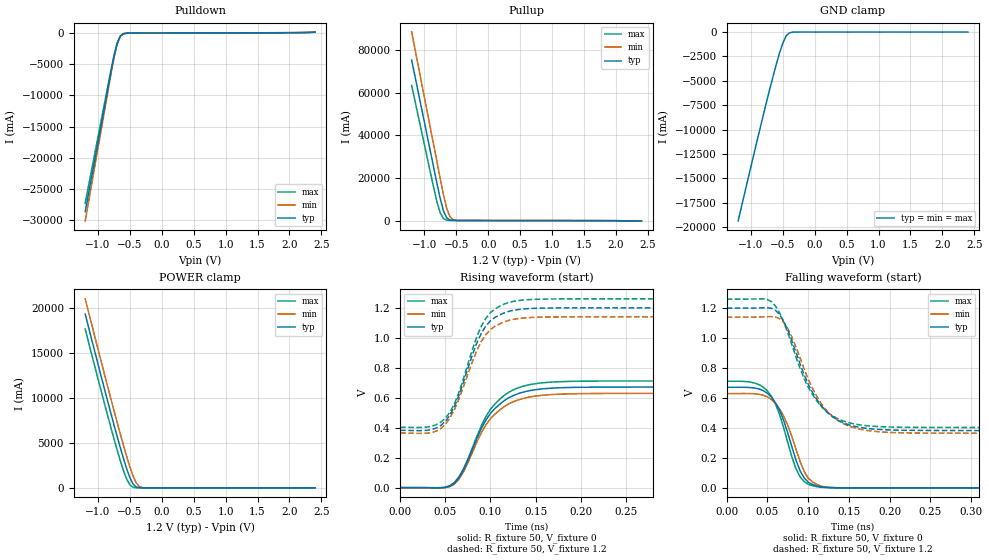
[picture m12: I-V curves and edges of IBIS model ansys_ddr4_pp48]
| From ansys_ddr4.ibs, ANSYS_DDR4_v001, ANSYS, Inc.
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|Model ansys_ddr4_pp48
[Model] ansys_ddr4_pp48
Model_type Output
C_comp 1e-13 9.5e-14 1.05e-13
[Temperature Range] 25.0 0.0 85.0
[Voltage Range] 1.2 1.14 1.26
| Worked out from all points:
|   slope of the pulldown table from 0 to 0.18 V, typ, clamps not added: 16.7 ohm
|   slope of the pullup table from 0 to 0.18 V, typ, clamps not added: 31.1 ohm
|   GND clamp passes 1 mA (typ) near -0.27 V on its own axis
|   POWER clamp passes 1 mA (typ) near -0.27 V on its own axis
|   rising waveform, R_fixture 50, V_fixture 0: 20-80 % time 35.3ps typ, 35.6ps min, 35.4ps max; typ from 0 V to 0.671 V
|   rising waveform, R_fixture 50, V_fixture 1.2: 20-80 % time 30.1ps typ, 30.9ps min, 29.9ps max; typ from 0.383 V to 1.2 V
|   falling waveform, R_fixture 50, V_fixture 0: 20-80 % time 25.7ps typ, 26.5ps min, 25.1ps max; typ from 0.671 V to 0 V
|   falling waveform, R_fixture 50, V_fixture 1.2: 20-80 % time 40.2ps typ, 40.4ps min, 40.3ps max; typ from 1.2 V to 0.383 V
[GND Clamp]
-1.2V     -19.39A    -19.39A    -19.39A
-850mV    -9.722A    -9.722A    -9.722A
-700mV    -5.751A    -5.751A    -5.751A
-600mV    -3.265A    -3.265A    -3.265A
-550mV    -2.13A     -2.13A     -2.13A
-500mV    -1.141A    -1.141A    -1.141A
-450mV    -425mA     -425mA     -425mA
-400mV    -94.47mA   -94.47mA   -94.47mA
-250mV    -312.2uA   -312.2uA   -312.2uA
2.4V      18.56nA    18.56nA    18.56nA
[POWER Clamp]
-1.2V     19.39A     21.07A     17.71A
-950mV    12.45A     14.1A      10.81A
-800mV    8.379A     9.992A     6.79A
-700mV    5.751A     7.316A     4.234A
-600mV    3.265A     4.733A     1.917A
-550mV    2.13A      3.503A     971.1mA
-500mV    1.141A     2.348A     327.9mA
-450mV    425mA      1.322A     66.45mA
-400mV    94.47mA    538.7mA    10.23mA
-350mV    15.01mA    132.5mA    1.479mA
-200mV    44.58uA    460.6uA    4.298uA
2.4V      -18.56nA   -18.56nA   -18.56nA
[Pulldown]
-1.2V     -28.6A     -30.1A     -27.24A
-800mV    -6.452A    -6.79A     -6.146A
-750mV    -3.823A    -4.022A    -3.642A
-700mV    -1.718A    -1.807A    -1.638A
-650mV    -500.3mA   -525.4mA   -477.5mA
-600mV    -117.5mA   -122.5mA   -112.8mA
-500mV    -33.36mA   -34.12mA   -32.6mA
2.4V      131.3mA    146.7mA    118mA
[Pullup]
-1.2V     75.37A     88.58A     63.46A
-850mV    24.25A     34.76A     14.76A
-800mV    16.95A     27.07A     8.346A
-750mV    10.01A     19.38A     3.435A
-700mV    4.46A      11.91A     871.9mA
-650mV    1.249A     5.697A     167.4mA
-600mV    242.4mA    1.766A     45.65mA
-550mV    57.86mA    355.4mA    25.58mA
-450mV    21.64mA    31.65mA    17.69mA
2.4V      -192.2mA   -172.9mA   -214.3mA
[Ramp]
|IBIS parser requires a comment here
dV/dt_r 0.68/1e-10 0.646/1.1e-10 0.714/9.5e-11
dV/dt_f 0.708/1.2e-10 0.673/1.1e-10 0.743/1.3e-10
[Rising Waveform]
R_fixture = 50
V_fixture = 0
0s        87.38uV    55.4uV     139.9uV
45ps      -768.4uV   -1.313mV   28.01uV
60ps      29.52mV    23.14mV    34.39mV
70ps      117.2mV    103.9mV    124mV
90ps      395.7mV    367.2mV    414.3mV
100ps     495.5mV    460.5mV    523mV
120ps     598.6mV    557.8mV    635.2mV
140ps     643.1mV    600.7mV    682.8mV
200ps     669.8mV    627.4mV    710.4mV
500ps     671.4mV    629.1mV    711.9mV
[Rising Waveform]
R_fixture = 50
V_fixture = 1.2
V_fixture_min = 1.14
V_fixture_max = 1.26
0s        382.6mV    364.8mV    403.1mV
35ps      387.8mV    368.2mV    409.9mV
50ps      442.2mV    422.5mV    463.3mV
65ps      614.7mV    590.3mV    633.8mV
80ps      886.6mV    841.4mV    922.1mV
90ps      1.032V     976.9mV    1.079V
100ps     1.114V     1.055V     1.169V
120ps     1.176V     1.116V     1.235V
165ps     1.199V     1.139V     1.259V
500ps     1.2V       1.14V      1.26V
[Falling Waveform]
R_fixture = 50
V_fixture = 0
0s        671.4mV    629.1mV    711.9mV
35ps      665.8mV    627.8mV    698.9mV
55ps      604.9mV    589.4mV    610.8mV
60ps      567.6mV    562.7mV    559mV
70ps      448.8mV    478.6mV    400.2mV
85ps      186.2mV    258.9mV    128.1mV
95ps      66.75mV    110.7mV    42.2mV
105ps     23.45mV    41.14mV    14.71mV
135ps     668.6uV    1.153mV    507uV
500ps     87.39uV    55.46uV    139.9uV
[Falling Waveform]
R_fixture = 50
V_fixture = 1.2
V_fixture_min = 1.14
V_fixture_max = 1.26
0s        1.2V       1.14V      1.26V
50ps      1.203V     1.143V     1.257V
65ps      1.157V     1.13V      1.168V
80ps      982.6mV    1.008V     955.4mV
95ps      756.5mV    795.2mV    730.1mV
105ps     640.7mV    668.4mV    626mV
125ps     496.1mV    501.8mV    499.2mV
145ps     430.6mV    424.2mV    443mV
210ps     385.3mV    368.4mV    405.2mV
500ps     382.6mV    364.8mV    403.1mV
